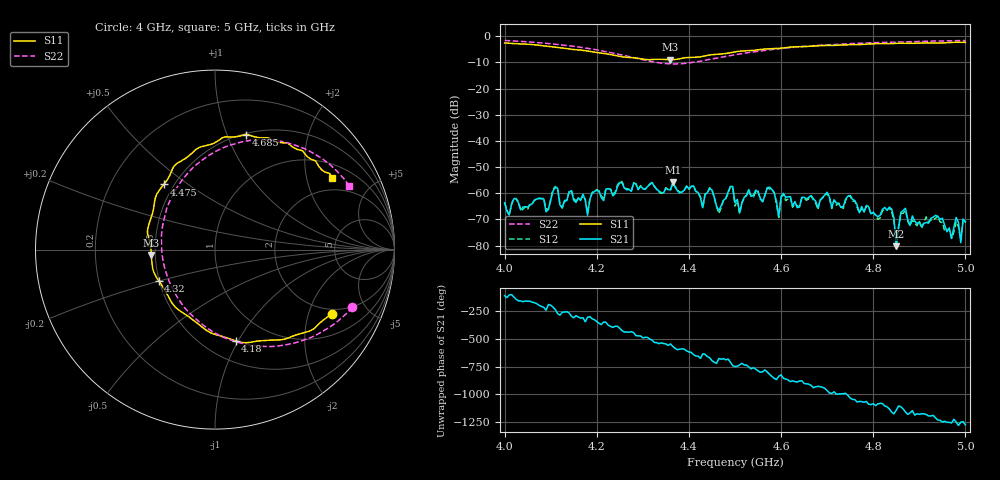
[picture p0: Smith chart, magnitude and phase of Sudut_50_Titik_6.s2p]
# Hz S RI R 50
! CMT, C1220, 16058040, 17.2.0/1
! Date: 15/08/2018 12:09:12
! Data: Format (Calibration Info)
! Freq  S11: Re/Im (F2)  S21: Re/Im (F2)  S12: Re/Im (F2)  S22: Re/Im (F2)
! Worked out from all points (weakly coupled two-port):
!   201 points, 4 GHz to 5 GHz, reference 50 ohm
!   highest |S21| = -55.87 dB at 4.365 GHz (marker M1); lowest = -80.2 dB at 4.85 GHz (marker M2)
!   lowest |S11| = -9.0 dB at 4.36 GHz (marker M3), VSWR 2.10, Z = 23.8 - j1.67 ohm
!   |S11| at or under -10 dB: nowhere
!   |S22| runs from -10.6 to -1.6 dB; largest |S21 - S12| = 0.00012
!   S11 on the Smith chart (normalised r, x): 4 GHz: 1.80, -2.87; 4.18 GHz: 0.70, -0.97; 4.32 GHz: 0.50, -0.20; 4.475 GHz: 0.44, +0.41; 4.685 GHz: 0.51, +1.17; 5 GHz: 1.48, +2.84
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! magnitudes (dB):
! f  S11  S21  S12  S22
! 4 GHz  -2.6  -63.6  -63.5  -1.6
! 4.17 GHz  -5.4  -60.4  -60.9  -4.3
! 4.18 GHz  -5.7  -68.4  -67.4  -4.6
! 4.195 GHz  -6.1  -59.3  -59.2  -5.1
! 4.32 GHz  -8.9  -55.9  -55.9  -9.7
! 4.335 GHz  -8.8  -59.2  -59.6  -10.2
! 4.36 GHz  -9.0  -58.7  -58.8  -10.6
! 4.365 GHz  -9.0  -55.9  -56.2  -10.6
! 4.475 GHz  -6.7  -62.7  -62.5  -7.9
! 4.495 GHz  -6.1  -57.4  -57.8  -7.2
! 4.5 GHz  -6.0  -63.6  -65.0  -7.1
! 4.57 GHz  -4.8  -57.9  -57.9  -5.3
! 4.595 GHz  -4.6  -69.0  -69.3  -4.8
! 4.67 GHz  -3.7  -62.1  -62.6  -3.6
! 4.685 GHz  -3.6  -62.5  -62.7  -3.5
! 4.835 GHz  -2.8  -65.3  -65.7  -2.3
! 4.85 GHz  -2.7  -80.2  -79.7  -2.2
! 4.87 GHz  -2.7  -65.8  -66.5  -2.1
! 4.97 GHz  -2.4  -77.3  -77.3  -1.7
! 4.98 GHz  -2.3  -69.3  -71.0  -1.7
! 4.99 GHz  -2.3  -78.9  -78.0  -1.7
! 5 GHz  -2.3  -70.8  -71.3  -1.6
